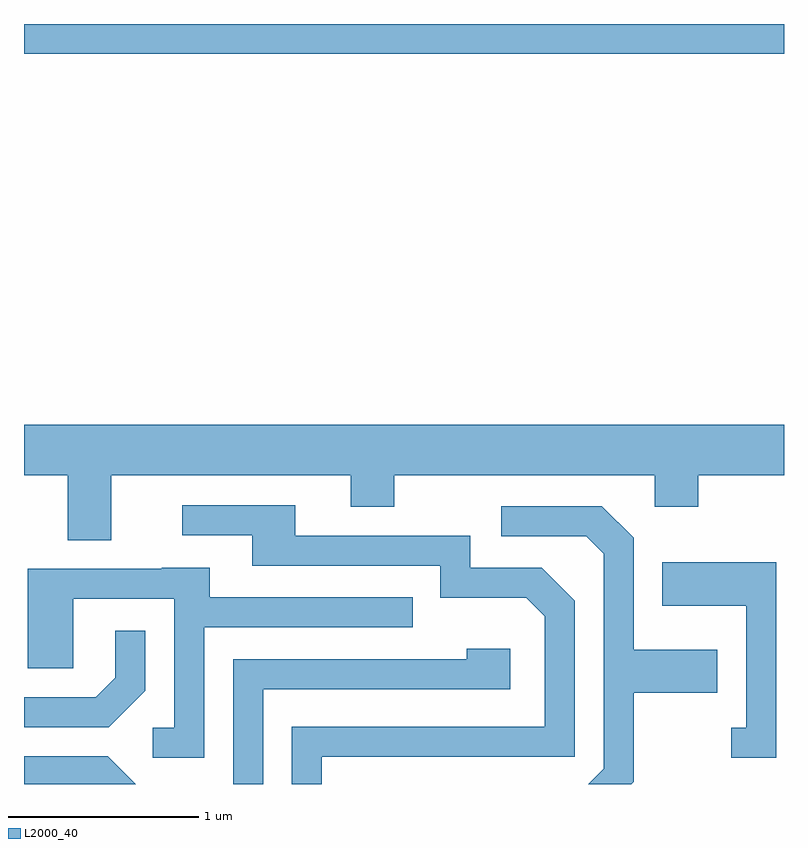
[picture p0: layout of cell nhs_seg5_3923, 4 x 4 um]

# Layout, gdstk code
import gdstk
lib = gdstk.Library(unit=1e-6, precision=1e-09)
def R(c, l, rs):  # rectangles x0, y0, x1, y1
    for r in rs: c.add(gdstk.rectangle(r[:2], r[2:], *l))
def P(c, l, *ps):  # polygons
    for p in ps: c.add(gdstk.Polygon(p, *l))
L2000_40 = (2000, 40)

nhs_seg5_3923 = lib.new_cell('nhs_seg5_3923')
R(nhs_seg5_3923, L2000_40, [(301.611,1447.916,305.611,1448.072)])
P(nhs_seg5_3923, L2000_40, [(302.069,1445.696),(303.331,1445.696),(303.331,1445.531),(303.559,1445.531),(303.559,1445.696),(304.931,1445.696),(304.931,1445.531),(305.159,1445.531),(305.159,1445.696),(305.611,1445.696),(305.611,1445.964),(301.611,1445.964),(301.611,1445.696),(301.841,1445.696),(301.841,1445.356),(302.069,1445.356)],
  [(303.179,1444.216),(304.509,1444.216),(304.509,1445.037),(304.337,1445.209),(303.959,1445.209),(303.959,1445.379),(303.039,1445.379),(303.039,1445.539),(302.443,1445.539),(302.443,1445.381),(302.811,1445.381),(302.811,1445.221),(303.801,1445.221),(303.801,1445.051),(304.254,1445.051),(304.351,1444.954),(304.351,1444.374),(303.021,1444.374),(303.021,1444.072),(303.179,1444.072)],
  [(304.819,1444.084),(304.819,1444.551),(305.259,1444.551),(305.259,1444.779),(304.819,1444.779),(304.819,1445.367),(304.652,1445.534),(304.123,1445.534),(304.123,1445.376),(304.569,1445.376),(304.661,1445.284),(304.661,1444.152),(304.582,1444.072),(304.807,1444.072)],
  [(305.569,1445.239),(304.971,1445.239),(304.971,1445.011),(305.411,1445.011),(305.411,1444.369),(305.333,1444.369),(305.333,1444.211),(305.569,1444.211)],
  [(302.559,1444.896),(303.658,1444.896),(303.658,1445.054),(302.589,1445.054),(302.589,1445.209),(302.335,1445.209),(302.335,1445.204),(301.631,1445.204),(301.631,1444.681),(301.869,1444.681),(301.869,1445.046),(302.401,1445.046),(302.401,1444.369),(302.288,1444.369),(302.288,1444.211),(302.559,1444.211)],
  [(302.249,1444.564),(302.249,1444.878),(302.091,1444.878),(302.091,1444.632),(301.989,1444.529),(301.611,1444.529),(301.611,1444.371),(302.057,1444.371)],
  [(302.869,1444.571),(304.169,1444.571),(304.169,1444.784),(303.941,1444.784),(303.941,1444.729),(302.711,1444.729),(302.711,1444.072),(302.869,1444.072)],
  [(302.052,1444.219),(301.611,1444.219),(301.611,1444.072),(302.199,1444.072)])

lib.write_gds('nhs_seg5_3923.gds')
